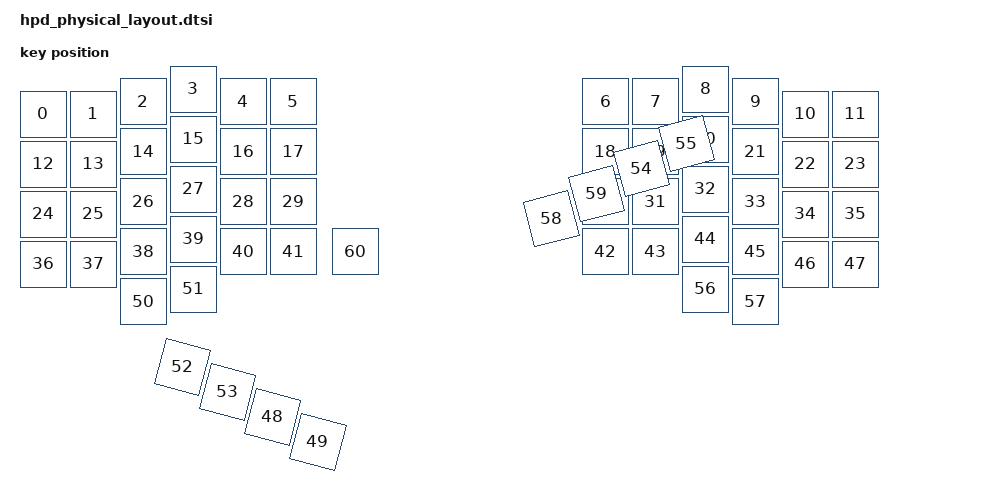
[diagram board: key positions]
#include <physical_layouts.dtsi>

/{
    hpd_physical_layout: hpd_physical_layout {
    compatible = "zmk,physical-layout";
    display-name = "hpd";
    transform = <&default_transform>;
        keys  //                     w   h    x    y     rot    rx    ry
            = <&key_physical_attrs 100 100    0   50       0     0     0>
            , <&key_physical_attrs 100 100  100   50       0     0     0>
            , <&key_physical_attrs 100 100  200   25       0     0     0>
            , <&key_physical_attrs 100 100  300    0       0     0     0>
            , <&key_physical_attrs 100 100  400   25       0     0     0>
            , <&key_physical_attrs 100 100  500   25       0     0     0>
            , <&key_physical_attrs 100 100 1125   25       0     0     0>
            , <&key_physical_attrs 100 100 1225   25       0     0     0>
            , <&key_physical_attrs 100 100 1325    0       0     0     0>
            , <&key_physical_attrs 100 100 1425   25       0     0     0>
            , <&key_physical_attrs 100 100 1525   50       0     0     0>
            , <&key_physical_attrs 100 100 1625   50       0     0     0>
            , <&key_physical_attrs 100 100    0  150       0     0     0>
            , <&key_physical_attrs 100 100  100  150       0     0     0>
            , <&key_physical_attrs 100 100  200  125       0     0     0>
            , <&key_physical_attrs 100 100  300  100       0     0     0>
            , <&key_physical_attrs 100 100  400  125       0     0     0>
            , <&key_physical_attrs 100 100  500  125       0     0     0>
            , <&key_physical_attrs 100 100 1125  125       0     0     0>
            , <&key_physical_attrs 100 100 1225  125       0     0     0>
            , <&key_physical_attrs 100 100 1325  100       0     0     0>
            , <&key_physical_attrs 100 100 1425  125       0     0     0>
            , <&key_physical_attrs 100 100 1525  150       0     0     0>
            , <&key_physical_attrs 100 100 1625  150       0     0     0>
            , <&key_physical_attrs 100 100    0  250       0     0     0>
            , <&key_physical_attrs 100 100  100  250       0     0     0>
            , <&key_physical_attrs 100 100  200  225       0     0     0>
            , <&key_physical_attrs 100 100  300  200       0     0     0>
            , <&key_physical_attrs 100 100  400  225       0     0     0>
            , <&key_physical_attrs 100 100  500  225       0     0     0>
            , <&key_physical_attrs 100 100 1125  225       0     0     0>
            , <&key_physical_attrs 100 100 1225  225       0     0     0>
            , <&key_physical_attrs 100 100 1325  200       0     0     0>
            , <&key_physical_attrs 100 100 1425  225       0     0     0>
            , <&key_physical_attrs 100 100 1525  250       0     0     0>
            , <&key_physical_attrs 100 100 1625  250       0     0     0>
            , <&key_physical_attrs 100 100    0  350       0     0     0>
            , <&key_physical_attrs 100 100  100  350       0     0     0>
            , <&key_physical_attrs 100 100  200  325       0     0     0>
            , <&key_physical_attrs 100 100  300  300       0     0     0>
            , <&key_physical_attrs 100 100  400  325       0     0     0>
            , <&key_physical_attrs 100 100  500  325       0     0     0>
            , <&key_physical_attrs 100 100 1125  325       0     0     0>
            , <&key_physical_attrs 100 100 1225  325       0     0     0>
            , <&key_physical_attrs 100 100 1325  300       0     0     0>
            , <&key_physical_attrs 100 100 1425  325       0     0     0>
            , <&key_physical_attrs 100 100 1525  350       0     0     0>
            , <&key_physical_attrs 100 100 1625  350       0     0     0>
            , <&key_physical_attrs 100 100  625  500    1500     0     0>
            , <&key_physical_attrs 100 100  725  525    1500     0     0>
            , <&key_physical_attrs 100 100  200  425       0     0     0>
            , <&key_physical_attrs 100 100  300  400       0     0     0>
            , <&key_physical_attrs 100 100  425  450    1500     0     0>
            , <&key_physical_attrs 100 100  525  475    1500     0     0>
            , <&key_physical_attrs 100 100 1100  475 (-1500)     0     0>
            , <&key_physical_attrs 100 100 1200  450 (-1500)     0     0>
            , <&key_physical_attrs 100 100 1325  400       0     0     0>
            , <&key_physical_attrs 100 100 1425  425       0     0     0>
            , <&key_physical_attrs 100 100  900  525 (-1500)     0     0>
            , <&key_physical_attrs 100 100 1000  500 (-1500)     0     0>
            , <&key_physical_attrs 100 100  625  325       0     0     0>
            ;
    };
};
